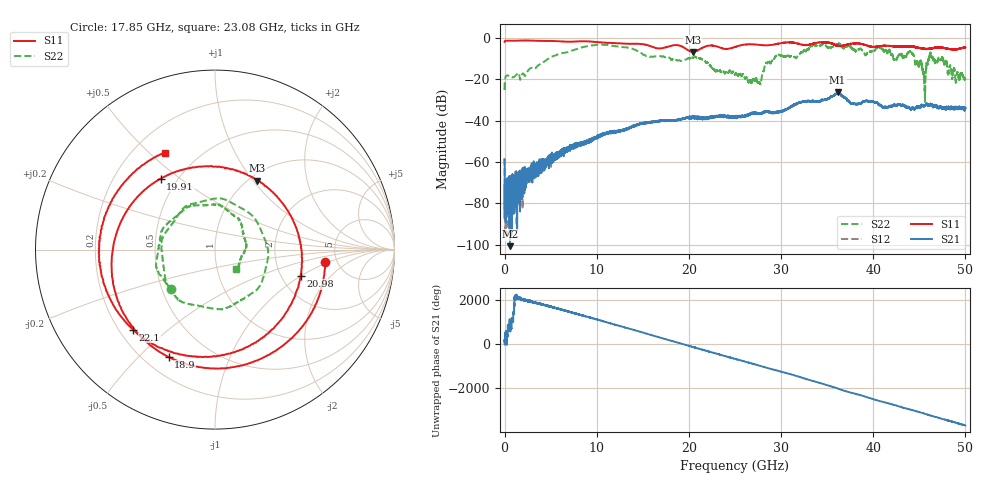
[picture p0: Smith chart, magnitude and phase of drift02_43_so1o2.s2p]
!Created with skrf (http://scikit-rf.org).
# Hz S RI R 50.0
!freq ReS11 ImS11 ReS21 ImS21 ReS12 ImS12 ReS22 ImS22
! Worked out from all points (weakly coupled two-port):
!   10001 points, 300 kHz to 50 GHz, reference 50 ohm
!   highest |S21| = -26.31 dB at 36.14 GHz (marker M1); lowest = -100.7 dB at 580.3 MHz (marker M2)
!   lowest |S11| = -6.9 dB at 20.41 GHz (marker M3), VSWR 2.64, Z = 54.4 + j52.4 ohm
!   |S11| at or under -10 dB: nowhere
!   |S22| runs from -31.0 to -2.7 dB; largest |S21 - S12| = 0.0048
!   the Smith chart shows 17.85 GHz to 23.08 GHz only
!   S11 on the Smith chart (normalised r, x): 17.85 GHz: 4.03, -0.88; 18.9 GHz: 0.30, -0.62; 19.91 GHz: 0.41, +0.43; 20.98 GHz: 2.55, -0.99; 22.1 GHz: 0.26, -0.38; 23.08 GHz: 0.33, +0.56
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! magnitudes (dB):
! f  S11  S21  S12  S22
! 300 kHz  -2.1  -59.1  -58.1  -21.8
! 580.3 MHz  -1.5  -100.7  -84.9  -18.9
! 8.335 GHz  -1.7  -50.8  -51.3  -4.7
! 16.67 GHz  -5.2  -40.3  -40.4  -9.0
! 17.85 GHz  -4.2  -39.9  -39.9  -9.7
! 18.9 GHz  -3.7  -39.5  -39.7  -10.9
! 19.91 GHz  -6.0  -38.5  -38.6  -9.9
! 20.41 GHz  -6.9  -38.4  -38.1  -9.7
! 20.98 GHz  -6.0  -38.8  -38.5  -9.3
! 22.1 GHz  -3.9  -38.6  -38.8  -12.6
! 23.08 GHz  -4.3  -38.0  -38.0  -15.9
! 25 GHz  -4.5  -38.4  -38.2  -17.7
! 27.62 GHz  -3.5  -36.7  -36.5  -21.6
! 29.54 GHz  -3.0  -35.9  -36.3  -8.8
! 33.34 GHz  -3.1  -30.8  -30.5  -3.8
! 36.14 GHz  -3.9  -26.3  -27.1  -3.0
! 41.67 GHz  -3.9  -33.3  -33.5  -6.0
! 44.14 GHz  -4.2  -34.4  -34.3  -7.1
! 45.51 GHz  -5.3  -33.1  -33.1  -18.4
! 46.19 GHz  -5.2  -32.1  -32.3  -7.9
! 47.34 GHz  -4.8  -33.4  -33.6  -10.7
! 50 GHz  -4.7  -33.9  -34.4  -20.4
